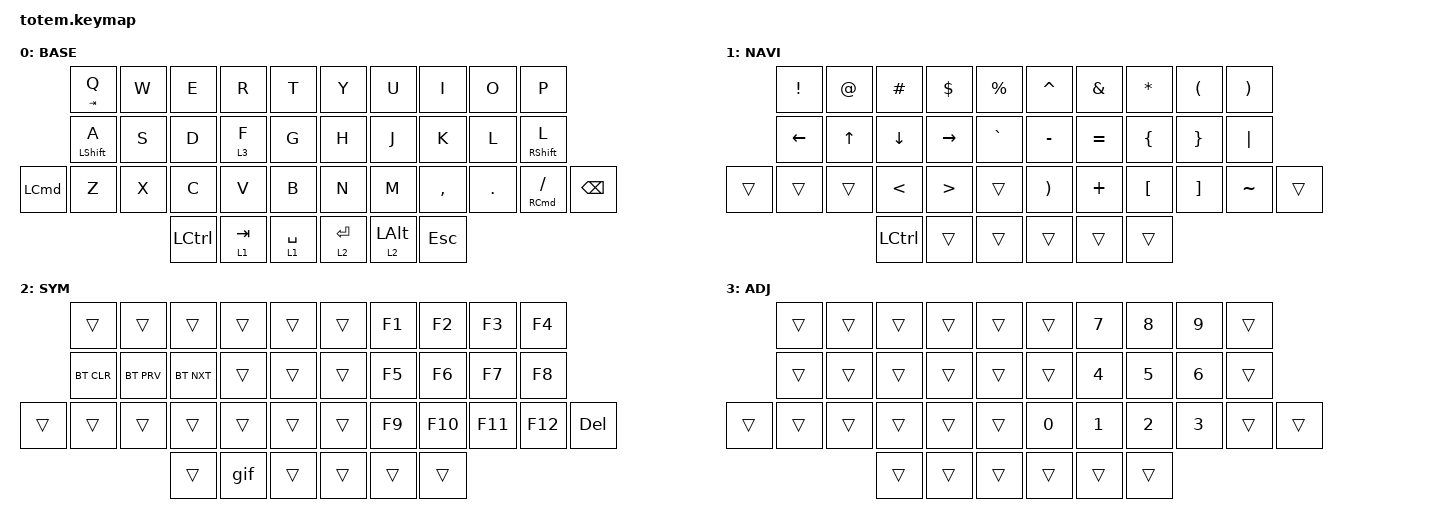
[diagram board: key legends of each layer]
//
//                                                        ▀▀▀▀▀     ▀▀▀▀▀          ▀▀█▀▀
//                                                        ▄▀▀▀▄  ▄  ▄▀▀▀▄  ▄  ▄▀▀▀▄  █  ▄▀▀▀▄
//                                                        █   █  █  █   █  █  █   █  █  █   █
//                                                         ▀▀▀   █   ▀▀▀   █   ▀▀▀   ▀   ▀▀▀
//                                                               █      ▄▄▄█▄▄▄    █   █  
//                                                               ▀      █  █  █     █▄█
//                                                             ▀▀▀▀▀    █  █  █      ▀
//                                                                      ▀  ▀  ▀
//
// ▄▄▄▄▄▄▄▄▄▄▄▄▄▄▄▄▄▄▄▄▄▄▄▄▄▄▄▄▄▄▄▄▄▄▄▄▄▄▄▄▄▄▄▄▄▄▄▄▄▄▄▄▄▄▄▄▄▄▄▄▄▄▄▄▄▄▄▄▄▄▄▄▄▄▄▄▄▄▄▄▄▄▄▄▄▄▄▄▄▄▄▄▄▄▄▄▄▄▄▄▄▄▄▄▄▄▄▄▄▄▄▄▄▄▄▄▄▄▄▄▄▄▄▄▄▄▄▄▄▄▄▄▄▄▄▄▄▄▄▄▄▄▄▄▄▄▄▄▄

#include <behaviors.dtsi>
#include <dt-bindings/zmk/bt.h>
#include <dt-bindings/zmk/keys.h>

#define BASE 0
#define NAV  1
#define SYM  2
#define ADJ  3

/ {
    combos {
        compatible = "zmk,combos";

        combo_esc {
            timeout-ms = <50>;
            key-positions = <0 1>;
            bindings = <&kp ESC>;
        };
    };

    macros {
        gif: gif {
            label = "giphy";
            compatible = "zmk,behavior-macro";
            #binding-cells = <0>;
            bindings =
                <&macro_press>,
                <&kp LSHFT>,
                <&macro_tap>,
                <&kp N2>,
                <&macro_release>,
                <&kp LSHFT>,
                <&macro_tap>,
                <&kp G &kp I &kp F>;
        };
    };

    keymap {
        compatible = "zmk,keymap";

        // ▄▄▄▄▄▄▄▄▄▄▄▄▄▄▄▄▄▄▄▄▄▄▄▄▄▄▄▄▄▄▄▄▄▄▄▄▄▄▄▄▄▄▄▄▄▄▄▄▄▄▄▄▄▄▄▄▄▄▄▄▄▄▄▄▄▄▄▄▄▄▄▄▄▄▄▄▄▄▄▄▄▄▄▄▄▄▄▄▄▄▄▄▄▄▄▄▄▄▄▄▄▄▄▄▄▄▄▄▄▄▄▄▄▄▄▄▄▄▄▄▄▄▄▄▄▄▄▄▄▄▄▄▄▄▄▄▄▄▄▄▄▄▄▄▄▄▄▄▄

        base_layer {
            // ┏━━━━━━━━━━━━━━━━━━━━━━━━━━━━━━━━━━━━━━━┓

            label = "BASE";

            // ┗━━━━━━━━━━━━━━━━━━━━━━━━━━━━━━━━━━━━━━━┛
            //             ┏━━━━━━━━━━━┳━━━━━━━━━━━┳━━━━━━━━━━━┳━━━━━━━━━━━┳━━━━━━━━━━━┓   ┏━━━━━━━━━━━┳━━━━━━━━━━━┳━━━━━━━━━━━┳━━━━━━━━━━━┳━━━━━━━━━━━┓
            //             ┃     Q     ┃     W     ┃     F     ┃     P     ┃     G     ┃   ┃     J     ┃     L     ┃     U     ┃     Y     ┃     ;     ┃
            //             ┣━━━━━━━━━━━╋━━━━━━━━━━━╋━━━━━━━━━━━╋━━━━━━━━━━━╋━━━━━━━━━━━┫   ┣━━━━━━━━━━━╋━━━━━━━━━━━╋━━━━━━━━━━━╋━━━━━━━━━━━╋━━━━━━━━━━━┫
            //             ┃     A     ┃     R     ┃     S     ┃     T     ┃     D     ┃   ┃     H     ┃     N     ┃     E     ┃     I     ┃     O     ┃
            // ┏━━━━━━━━━━━╋━━━━━━━━━━━╋━━━━━━━━━━━╋━━━━━━━━━━━╋━━━━━━━━━━━╋━━━━━━━━━━━┫   ┣━━━━━━━━━━━╋━━━━━━━━━━━╋━━━━━━━━━━━╋━━━━━━━━━━━╋━━━━━━━━━━━╋━━━━━━━━━━━┓
            // ┃           ┃     Z     ┃     X     ┃     C     ┃     V     ┃     B     ┃   ┃     K     ┃     M     ┃     ,     ┃     .     ┃     /     ┃           ┃
            // ┗━━━━━━━━━━━┻━━━━━━━━━━━┻━━━━━━━━━━━╋━━━━━━━━━━━╋━━━━━━━━━━━╋━━━━━━━━━━━┫   ┣━━━━━━━━━━━╋━━━━━━━━━━━╋━━━━━━━━━━━╋━━━━━━━━━━━┻━━━━━━━━━━━┻━━━━━━━━━━━┛
            //                                     ┃           ┃    TAB    ┃    SPC    ┃   ┃   ENTER   ┃   BSPC    ┃           ┃
            //                                     ┗━━━━━━━━━━━┻━━━━━━━━━━━┻━━━━━━━━━━━┛   ┗━━━━━━━━━━━┻━━━━━━━━━━━┻━━━━━━━━━━━┛

            bindings = <
                  &mt TAB Q         &kp W  &kp E      &kp R      &kp T          &kp Y      &kp U           &kp I       &kp O    &kp P
                  &mt LEFT_SHIFT A  &kp S  &kp D      &lt 3 F    &kp G          &kp H      &kp J           &kp K       &kp L    &mt RIGHT_SHIFT L
&kp LEFT_COMMAND  &kp Z             &kp X  &kp C      &kp V      &kp B          &kp N      &kp M           &kp COMMA   &kp DOT  &mt RIGHT_COMMAND SLASH  &kp BACKSPACE
                                           &kp LCTRL  &lt 1 TAB  &lt 1 SPACE    &lt 2 RET  &lt 2 LEFT_ALT  &kp ESCAPE
            >;
        };

        // ▄▄▄▄▄▄▄▄▄▄▄▄▄▄▄▄▄▄▄▄▄▄▄▄▄▄▄▄▄▄▄▄▄▄▄▄▄▄▄▄▄▄▄▄▄▄▄▄▄▄▄▄▄▄▄▄▄▄▄▄▄▄▄▄▄▄▄▄▄▄▄▄▄▄▄▄▄▄▄▄▄▄▄▄▄▄▄▄▄▄▄▄▄▄▄▄▄▄▄▄▄▄▄▄▄▄▄▄▄▄▄▄▄▄▄▄▄▄▄▄▄▄▄▄▄▄▄▄▄▄▄▄▄▄▄▄▄▄▄▄▄▄▄▄▄▄▄▄▄

        nav_layer {
            // ┏━━━━━━━━━━━━━━━━━━━━━━━━━━━━━━━━━━━━━━━┓

            label = "NAVI";

            // ┗━━━━━━━━━━━━━━━━━━━━━━━━━━━━━━━━━━━━━━━┛
            //             ┏━━━━━━━━━━━┳━━━━━━━━━━━┳━━━━━━━━━━━┳━━━━━━━━━━━┳━━━━━━━━━━━┓   ┏━━━━━━━━━━━┳━━━━━━━━━━━┳━━━━━━━━━━━┳━━━━━━━━━━━┳━━━━━━━━━━━┓
            //             ┃           ┃           ┃     UP    ┃           ┃     {     ┃   ┃     }     ┃     7     ┃     8     ┃     9     ┃     +     ┃
            //             ┣━━━━━━━━━━━╋━━━━━━━━━━━╋━━━━━━━━━━━╋━━━━━━━━━━━╋━━━━━━━━━━━┫   ┣━━━━━━━━━━━╋━━━━━━━━━━━╋━━━━━━━━━━━╋━━━━━━━━━━━╋━━━━━━━━━━━┫
            //             ┃   SHIFT   ┃   LEFT    ┃    DOWN   ┃   RIGHT   ┃     [     ┃   ┃     ]     ┃     4     ┃     5     ┃     6     ┃     -     ┃
            // ┏━━━━━━━━━━━╋━━━━━━━━━━━╋━━━━━━━━━━━╋━━━━━━━━━━━╋━━━━━━━━━━━╋━━━━━━━━━━━┫   ┣━━━━━━━━━━━╋━━━━━━━━━━━╋━━━━━━━━━━━╋━━━━━━━━━━━╋━━━━━━━━━━━╋━━━━━━━━━━━┓
            // ┃           ┃           ┃   P UP    ┃  C LOCK   ┃  P DOWN   ┃     (     ┃   ┃     )     ┃     1     ┃     2     ┃     3     ┃     *     ┃           ┃
            // ┗━━━━━━━━━━━┻━━━━━━━━━━━┻━━━━━━━━━━━╋━━━━━━━━━━━╋━━━━━━━━━━━╋━━━━━━━━━━━┫   ┣━━━━━━━━━━━╋━━━━━━━━━━━╋━━━━━━━━━━━╋━━━━━━━━━━━┻━━━━━━━━━━━┻━━━━━━━━━━━┛
            //                                     ┃           ┃    TAB    ┃    SPC    ┃   ┃    DEL    ┃     0     ┃           ┃
            //                                     ┗━━━━━━━━━━━┻━━━━━━━━━━━┻━━━━━━━━━━━┛   ┗━━━━━━━━━━━┻━━━━━━━━━━━┻━━━━━━━━━━━┛

            bindings = <
        &kp EXCLAMATION  &kp AT_SIGN   &kp HASH          &kp DOLLAR        &kp PERCENT    &kp CARET  &kp AMPERSAND  &kp ASTRK         &kp LEFT_PARENTHESIS  &kp RIGHT_PARENTHESIS
        &kp LEFT         &kp UP_ARROW  &kp DOWN          &kp RIGHT         &kp GRAVE      &kp MINUS  &kp EQUAL      &kp LEFT_BRACE    &kp RIGHT_BRACE       &kp PIPE
&trans  &trans           &trans        &kp LESS_THAN     &kp GREATER_THAN  &trans         &kp RPAR   &kp PLUS       &kp LEFT_BRACKET  &kp RIGHT_BRACKET     &kp TILDE              &trans
                                       &kp LEFT_CONTROL  &trans            &trans         &trans     &trans         &trans
            >;
        };

        // ▄▄▄▄▄▄▄▄▄▄▄▄▄▄▄▄▄▄▄▄▄▄▄▄▄▄▄▄▄▄▄▄▄▄▄▄▄▄▄▄▄▄▄▄▄▄▄▄▄▄▄▄▄▄▄▄▄▄▄▄▄▄▄▄▄▄▄▄▄▄▄▄▄▄▄▄▄▄▄▄▄▄▄▄▄▄▄▄▄▄▄▄▄▄▄▄▄▄▄▄▄▄▄▄▄▄▄▄▄▄▄▄▄▄▄▄▄▄▄▄▄▄▄▄▄▄▄▄▄▄▄▄▄▄▄▄▄▄▄▄▄▄▄▄▄▄▄▄▄

        sim_layer {
            // ┏━━━━━━━━━━━━━━━━━━━━━━━━━━━━━━━━━━━━━━━┓

            label = "SYM";

            // ┗━━━━━━━━━━━━━━━━━━━━━━━━━━━━━━━━━━━━━━━┛
            //             ┏━━━━━━━━━━━┳━━━━━━━━━━━┳━━━━━━━━━━━┳━━━━━━━━━━━┳━━━━━━━━━━━┓   ┏━━━━━━━━━━━┳━━━━━━━━━━━┳━━━━━━━━━━━┳━━━━━━━━━━━┳━━━━━━━━━━━┓
            //             ┃     !     ┃     @     ┃     #     ┃     $     ┃     %     ┃   ┃     ˆ     ┃     &     ┃     Ü     ┃     '     ┃     "     ┃
            //             ┣━━━━━━━━━━━╋━━━━━━━━━━━╋━━━━━━━━━━━╋━━━━━━━━━━━╋━━━━━━━━━━━┫   ┣━━━━━━━━━━━╋━━━━━━━━━━━╋━━━━━━━━━━━╋━━━━━━━━━━━╋━━━━━━━━━━━┫
            //             ┃     Ä     ┃           ┃    SZ     ┃           ┃           ┃   ┃   MUTE    ┃   YEN     ┃   EURO    ┃  POUND    ┃     Ö     ┃
            // ┏━━━━━━━━━━━╋━━━━━━━━━━━╋━━━━━━━━━━━╋━━━━━━━━━━━╋━━━━━━━━━━━╋━━━━━━━━━━━┫   ┣━━━━━━━━━━━╋━━━━━━━━━━━╋━━━━━━━━━━━╋━━━━━━━━━━━╋━━━━━━━━━━━╋━━━━━━━━━━━┓
            // ┃           ┃  EMAIL1   ┃  EMAIL2   ┃           ┃           ┃           ┃   ┃   VOL-    ┃   VOL+    ┃   LAST    ┃   NEXT    ┃     \     ┃           ┃
            // ┗━━━━━━━━━━━┻━━━━━━━━━━━┻━━━━━━━━━━━╋━━━━━━━━━━━╋━━━━━━━━━━━╋━━━━━━━━━━━┫   ┣━━━━━━━━━━━╋━━━━━━━━━━━╋━━━━━━━━━━━╋━━━━━━━━━━━┻━━━━━━━━━━━┻━━━━━━━━━━━┛
            //                                     ┃           ┃    GIF    ┃    ADJ    ┃   ┃           ┃           ┃           ┃
            //                                     ┗━━━━━━━━━━━┻━━━━━━━━━━━┻━━━━━━━━━━━┛   ┗━━━━━━━━━━━┻━━━━━━━━━━━┻━━━━━━━━━━━┛

            bindings = <
        &trans      &trans      &trans      &trans  &trans    &trans  &kp F1  &kp F2   &kp F3   &kp F4
        &bt BT_CLR  &bt BT_PRV  &bt BT_NXT  &trans  &trans    &trans  &kp F5  &kp F6   &kp F7   &kp F8
&trans  &trans      &trans      &trans      &trans  &trans    &trans  &kp F9  &kp F10  &kp F11  &kp F12  &kp DEL
                                &trans      &gif    &trans    &trans  &trans  &trans
            >;
        };

        // ▄▄▄▄▄▄▄▄▄▄▄▄▄▄▄▄▄▄▄▄▄▄▄▄▄▄▄▄▄▄▄▄▄▄▄▄▄▄▄▄▄▄▄▄▄▄▄▄▄▄▄▄▄▄▄▄▄▄▄▄▄▄▄▄▄▄▄▄▄▄▄▄▄▄▄▄▄▄▄▄▄▄▄▄▄▄▄▄▄▄▄▄▄▄▄▄▄▄▄▄▄▄▄▄▄▄▄▄▄▄▄▄▄▄▄▄▄▄▄▄▄▄▄▄▄▄▄▄▄▄▄▄▄▄▄▄▄▄▄▄▄▄▄▄▄▄▄▄▄

        adjust_layer {
            // ┏━━━━━━━━━━━━━━━━━━━━━━━━━━━━━━━━━━━━━━━┓

            label = "ADJ";

            // ┗━━━━━━━━━━━━━━━━━━━━━━━━━━━━━━━━━━━━━━━┛
            //             ┏━━━━━━━━━━━┳━━━━━━━━━━━┳━━━━━━━━━━━┳━━━━━━━━━━━┳━━━━━━━━━━━┓   ┏━━━━━━━━━━━┳━━━━━━━━━━━┳━━━━━━━━━━━┳━━━━━━━━━━━┳━━━━━━━━━━━┓
            //             ┃   RESET   ┃ BT CLEAR  ┃  OUT TOG  ┃           ┃           ┃   ┃           ┃    F7     ┃    F8     ┃    F9     ┃    F12    ┃
            //             ┣━━━━━━━━━━━╋━━━━━━━━━━━╋━━━━━━━━━━━╋━━━━━━━━━━━╋━━━━━━━━━━━┫   ┣━━━━━━━━━━━╋━━━━━━━━━━━╋━━━━━━━━━━━╋━━━━━━━━━━━╋━━━━━━━━━━━┫
            //             ┃ BOOTLOAD  ┃ BT NEXT   ┃           ┃           ┃           ┃   ┃           ┃    F4     ┃    F5     ┃    F6     ┃    F11    ┃
            // ┏━━━━━━━━━━━╋━━━━━━━━━━━╋━━━━━━━━━━━╋━━━━━━━━━━━╋━━━━━━━━━━━╋━━━━━━━━━━━┫   ┣━━━━━━━━━━━╋━━━━━━━━━━━╋━━━━━━━━━━━╋━━━━━━━━━━━╋━━━━━━━━━━━╋━━━━━━━━━━━┓
            // ┃           ┃           ┃ BT PREV   ┃           ┃           ┃           ┃   ┃           ┃    F1     ┃    F2     ┃    F3     ┃    F10    ┃           ┃
            // ┗━━━━━━━━━━━┻━━━━━━━━━━━┻━━━━━━━━━━━╋━━━━━━━━━━━╋━━━━━━━━━━━╋━━━━━━━━━━━┫   ┣━━━━━━━━━━━╋━━━━━━━━━━━╋━━━━━━━━━━━╋━━━━━━━━━━━┻━━━━━━━━━━━┻━━━━━━━━━━━┛
            //                                     ┃           ┃           ┃           ┃   ┃           ┃           ┃           ┃
            //                                     ┗━━━━━━━━━━━┻━━━━━━━━━━━┻━━━━━━━━━━━┛   ┗━━━━━━━━━━━┻━━━━━━━━━━━┻━━━━━━━━━━━┛

            bindings = <
        &trans  &trans  &trans  &trans  &trans    &trans        &kp N7  &kp N8  &kp N9  &trans
        &trans  &trans  &trans  &trans  &trans    &trans        &kp N4  &kp N5  &kp N6  &trans
&trans  &trans  &trans  &trans  &trans  &trans    &kp NUMBER_0  &kp N1  &kp N2  &kp N3  &trans  &trans
                        &trans  &trans  &trans    &trans        &trans  &trans
            >;
        };
    };
};
